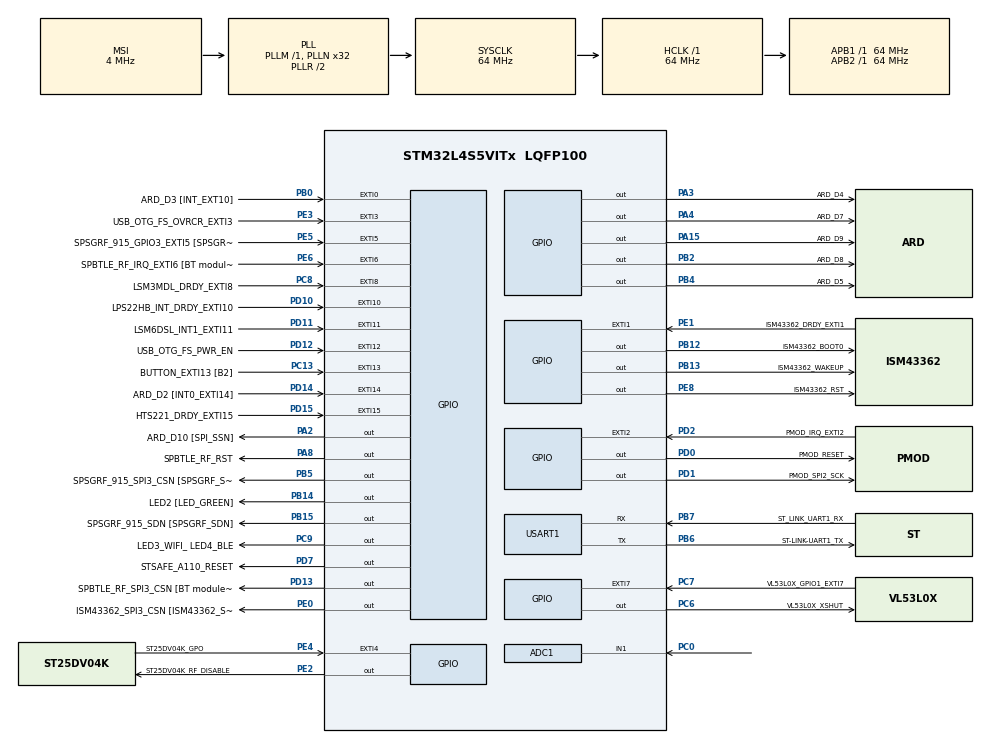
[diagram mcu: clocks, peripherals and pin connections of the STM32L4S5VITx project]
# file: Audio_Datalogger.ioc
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ADC1.ExternalTrigConv=ADC_EXTERNALTRIG_T2_TRGO
ADC1.ExternalTrigConvEdge=ADC_EXTERNALTRIGCONVEDGE_FALLING
ADC1.NbrOfConversionFlag=1
ADC1.Resolution=ADC_RESOLUTION_10B
ADC1.master=1
Mcu.Family=STM32L4
Mcu.Name=STM32L4S5VITx
Mcu.Package=LQFP100
NVIC.ADC1_IRQn=true\:0\:0\:false\:false\:true\:true\:true\:true
NVIC.EXTI15_10_IRQn=true\:0\:0\:false\:false\:true\:true\:true\:true
NVIC.EXTI9_5_IRQn=true\:0\:0\:false\:false\:true\:true\:true\:true
NVIC.PriorityGroup=NVIC_PRIORITYGROUP_4
PA0.GPIO_Label=ARD_D1 [UART4_TX]
PA0.GPIO_ModeDefaultPP=GPIO_MODE_AF_PP
PA0.GPIO_PuPd=GPIO_NOPULL
PA0.GPIO_Speed=GPIO_SPEED_FREQ_VERY_HIGH
PA0.Signal=UART4_TX
PA1.GPIO_Label=ARD_D0 [UART4_RX]
PA1.GPIO_ModeDefaultPP=GPIO_MODE_AF_PP
PA1.GPIO_PuPd=GPIO_NOPULL
PA1.GPIO_Speed=GPIO_SPEED_FREQ_VERY_HIGH
PA1.Signal=UART4_RX
PA13\ (JTMS/SWDIO).GPIO_Label=SYS_JTMS_SWDIO
PA13\ (JTMS/SWDIO).Signal=SYS_JTMS-SWDIO
PA14\ (JTCK/SWCLK).GPIO_Label=SYS_JTCK_SWCLK
PA14\ (JTCK/SWCLK).Signal=SYS_JTCK-SWCLK
PA15\ (JTDI).GPIO_Label=ARD_D9
PA15\ (JTDI).GPIO_ModeDefaultOutputPP=GPIO_MODE_OUTPUT_PP
PA15\ (JTDI).GPIO_PuPd=GPIO_NOPULL
PA15\ (JTDI).GPIO_Speed=GPIO_SPEED_FREQ_LOW
PA15\ (JTDI).PinState=GPIO_PIN_RESET
PA15\ (JTDI).Signal=GPIO_Output
PA2.GPIO_Label=ARD_D10 [SPI_SSN]
PA2.GPIO_ModeDefaultOutputPP=GPIO_MODE_OUTPUT_PP
PA2.GPIO_PuPd=GPIO_NOPULL
PA2.GPIO_Speed=GPIO_SPEED_FREQ_LOW
PA2.PinState=GPIO_PIN_RESET
PA2.Signal=GPIO_Output
PA3.GPIO_Label=ARD_D4
PA3.Signal=GPIO_Output
PA4.GPIO_Label=ARD_D7
PA4.Signal=GPIO_Output
PA5.GPIO_Label=ARD_D13 [SPI1_SCK/LED1]
PA5.GPIO_Mode=GPIO_MODE_AF_PP
PA5.GPIO_PuPd=GPIO_NOPULL
PA5.GPIO_Speed=GPIO_SPEED_FREQ_VERY_HIGH
PA5.Signal=SPI1_SCK
PA6.GPIO_Label=ARD_D12 [SPI1_MISO]
PA6.GPIO_Mode=GPIO_MODE_AF_PP
PA6.GPIO_PuPd=GPIO_NOPULL
PA6.GPIO_Speed=GPIO_SPEED_FREQ_VERY_HIGH
PA6.Signal=SPI1_MISO
PA7.GPIO_Label=ARD_D11 [SPI1_MOSI]
PA7.GPIO_Mode=GPIO_MODE_AF_PP
PA7.GPIO_PuPd=GPIO_NOPULL
PA7.GPIO_Speed=GPIO_SPEED_FREQ_VERY_HIGH
PA7.Signal=SPI1_MOSI
PA8.GPIO_Label=SPBTLE_RF_RST
PA8.GPIO_ModeDefaultOutputPP=GPIO_MODE_OUTPUT_PP
PA8.GPIO_PuPd=GPIO_NOPULL
PA8.GPIO_Speed=GPIO_SPEED_FREQ_LOW
PA8.PinState=GPIO_PIN_RESET
PA8.Signal=GPIO_Output
PA9.GPIO_Label=USB_OTG_FS_VBUS
PA9.GPIO_Mode=GPIO_MODE_INPUT
PA9.GPIO_PuPd=GPIO_NOPULL
PA9.Signal=USB_OTG_FS_VBUS
PB0.GPIO_Label=ARD_D3 [INT_EXT10]
PB0.GPIO_ModeDefaultEXTI=GPIO_MODE_IT_RISING
PB0.GPIO_PuPd=GPIO_NOPULL
PB0.Signal=GPXTI0
PB1.GPIO_Label=ARD_D6
PB1.GPIO_Speed=GPIO_SPEED_FREQ_LOW
PB1.Signal=S_TIM3_CH4
PB10.GPIO_Label=INTERNAL_I2C2_SCL [MEMs]
PB10.GPIO_Mode=GPIO_MODE_AF_OD
PB10.GPIO_PuPdOD=GPIO_PULLUP
PB10.GPIO_Speed=GPIO_SPEED_FREQ_VERY_HIGH
PB10.Signal=I2C2_SCL
PB11.GPIO_Label=INTERNAL_I2C2_SDA [MEMs]
PB11.GPIO_Mode=GPIO_MODE_AF_OD
PB11.GPIO_PuPdOD=GPIO_PULLUP
PB11.GPIO_Speed=GPIO_SPEED_FREQ_VERY_HIGH
PB11.Signal=I2C2_SDA
PB12.GPIO_Label=ISM43362_BOOT0
PB12.GPIO_ModeDefaultOutputPP=GPIO_MODE_OUTPUT_PP
PB12.GPIO_PuPd=GPIO_NOPULL
PB12.GPIO_Speed=GPIO_SPEED_FREQ_LOW
PB12.PinState=GPIO_PIN_RESET
PB12.Signal=GPIO_Output
PB13.GPIO_Label=ISM43362_WAKEUP
PB13.GPIO_ModeDefaultOutputPP=GPIO_MODE_OUTPUT_PP
PB13.GPIO_PuPd=GPIO_NOPULL
PB13.GPIO_Speed=GPIO_SPEED_FREQ_LOW
PB13.PinState=GPIO_PIN_RESET
PB13.Signal=GPIO_Output
PB14.GPIO_Label=LED2 [LED_GREEN]
PB14.GPIO_ModeDefaultOutputPP=GPIO_MODE_OUTPUT_PP
PB14.GPIO_PuPd=GPIO_NOPULL
PB14.GPIO_Speed=GPIO_SPEED_FREQ_LOW
PB14.PinState=GPIO_PIN_RESET
PB14.Signal=GPIO_Output
PB15.GPIO_Label=SPSGRF_915_SDN [SPSGRF_SDN]
PB15.Signal=GPIO_Output
PB2.GPIO_Label=ARD_D8
PB2.GPIO_ModeDefaultOutputPP=GPIO_MODE_OUTPUT_PP
PB2.GPIO_PuPd=GPIO_NOPULL
PB2.GPIO_Speed=GPIO_SPEED_FREQ_LOW
PB2.PinState=GPIO_PIN_RESET
PB2.Signal=GPIO_Output
PB3\ (JTDO/TRACESWO).GPIO_Label=SYS_JTD0_SWO
PB3\ (JTDO/TRACESWO).Signal=SYS_JTDO-SWO
PB4\ (NJTRST).GPIO_Label=ARD_D5
PB4\ (NJTRST).GPIO_ModeDefaultOutputPP=GPIO_MODE_OUTPUT_PP
PB4\ (NJTRST).GPIO_PuPd=GPIO_NOPULL
PB4\ (NJTRST).GPIO_Speed=GPIO_SPEED_FREQ_LOW
PB4\ (NJTRST).PinState=GPIO_PIN_RESET
PB4\ (NJTRST).Signal=GPIO_Output
PB5.GPIO_Label=SPSGRF_915_SPI3_CSN [SPSGRF_SPI_CS]
PB5.Signal=GPIO_Output
PB6.GPIO_FM6=__NULL
PB6.GPIO_Label=ST-LINK-UART1_TX
PB6.GPIO_ModeDefaultPP=GPIO_MODE_AF_PP
PB6.GPIO_PuPd=GPIO_NOPULL
PB6.GPIO_Speed=GPIO_SPEED_FREQ_VERY_HIGH
PB6.Mode=Asynchronous
PB6.Signal=USART1_TX
PB7.GPIO_FM7=__NULL
PB7.GPIO_Label=ST_LINK_UART1_RX
PB7.GPIO_ModeDefaultPP=GPIO_MODE_AF_PP
PB7.GPIO_PuPd=GPIO_NOPULL
PB7.GPIO_Speed=GPIO_SPEED_FREQ_VERY_HIGH
PB7.Mode=Asynchronous
PB7.Signal=USART1_RX
PB8.GPIO_FM8=__NULL
PB8.GPIO_Label=ARD_D15 [I2C1_SCL]
PB8.GPIO_Mode=GPIO_MODE_AF_OD
PB8.GPIO_PuPdOD=GPIO_PULLUP
PB8.GPIO_Speed=GPIO_SPEED_FREQ_VERY_HIGH
PB8.Signal=I2C1_SCL
PB9.GPIO_FM9=__NULL
PB9.GPIO_Label=ARD_D14 [I2C1_SDA]
PB9.GPIO_Mode=GPIO_MODE_AF_OD
PB9.GPIO_PuPdOD=GPIO_PULLUP
PB9.GPIO_Speed=GPIO_SPEED_FREQ_VERY_HIGH
PB9.Signal=I2C1_SDA
PC0.GPIO_Mode=GPIO_MODE_ANALOG_ADC_CONTROL
PC0.GPIO_PuPd=GPIO_NOPULL
PC0.Signal=ADCx_IN1
PC1.GPIO_Label=ARD_A4 [ADC]
PC1.GPIO_Mode=GPIO_MODE_ANALOG_ADC_CONTROL
PC1.GPIO_PuPd=GPIO_NOPULL
PC1.Signal=ADCx_IN2
PC10.GPIO_Label=INTERNAL-SPI3_SCK [BT module_SPI_MOSI] [ISM43362_MOSI]
PC10.GPIO_Mode=GPIO_MODE_AF_PP
PC10.GPIO_PuPd=GPIO_NOPULL
PC10.GPIO_Speed=GPIO_SPEED_FREQ_VERY_HIGH
PC10.Signal=SPI3_SCK
PC11.GPIO_Label=INTERNAL_SPI3_MISO [BT module_SPI_MOSI] [ISM43362_MOSI]
PC11.GPIO_Mode=GPIO_MODE_AF_PP
PC11.GPIO_PuPd=GPIO_NOPULL
PC11.GPIO_Speed=GPIO_SPEED_FREQ_VERY_HIGH
PC11.Signal=SPI3_MISO
PC12.GPIO_Label=INTERNAL_SPI3_MOSI [BT module_SPI_MOSI] [ISM43362_MOSI]
PC12.GPIO_Mode=GPIO_MODE_AF_PP
PC12.GPIO_PuPd=GPIO_NOPULL
PC12.GPIO_Speed=GPIO_SPEED_FREQ_VERY_HIGH
PC12.Signal=SPI3_MOSI
PC13.GPIO_Label=BUTTON_EXTI13 [B2]
PC13.GPIO_ModeDefaultEXTI=GPIO_MODE_IT_RISING
PC13.GPIO_PuPd=GPIO_NOPULL
PC13.Signal=GPXTI13
PC2.GPIO_Label=ARD_A3 [ADC]
PC2.GPIO_Mode=GPIO_MODE_ANALOG_ADC_CONTROL
PC2.GPIO_PuPd=GPIO_NOPULL
PC2.Signal=ADCx_IN3
PC3.GPIO_Label=ARD_A2 [ADC]
PC3.GPIO_Mode=GPIO_MODE_ANALOG_ADC_CONTROL
PC3.GPIO_PuPd=GPIO_NOPULL
PC3.Signal=ADCx_IN4
PC4.GPIO_Label=ARD_A1 [ADC]
PC4.GPIO_Mode=GPIO_MODE_ANALOG_ADC_CONTROL
PC4.GPIO_PuPd=GPIO_NOPULL
PC4.Signal=ADCx_IN13
PC5.GPIO_Label=ARD_A0 [ADC]
PC5.GPIO_Mode=GPIO_MODE_ANALOG_ADC_CONTROL
PC5.GPIO_PuPd=GPIO_NOPULL
PC5.Signal=ADCx_IN14
PC6.GPIO_Label=VL53L0X_XSHUT
PC6.GPIO_ModeDefaultOutputPP=GPIO_MODE_OUTPUT_PP
PC6.GPIO_PuPd=GPIO_NOPULL
PC6.GPIO_Speed=GPIO_SPEED_FREQ_LOW
PC6.PinState=GPIO_PIN_RESET
PC6.Signal=GPIO_Output
PC7.GPIO_Label=VL53L0X_GPIO1_EXTI7
PC7.GPIO_ModeDefaultEXTI=GPIO_MODE_IT_RISING
PC7.GPIO_PuPd=GPIO_NOPULL
PC7.Signal=GPXTI7
PC8.GPIO_Label=LSM3MDL_DRDY_EXTI8
PC8.GPIO_ModeDefaultEXTI=GPIO_MODE_IT_RISING
PC8.GPIO_PuPd=GPIO_NOPULL
PC8.Signal=GPXTI8
PC9.GPIO_Label=LED3_WIFI_ LED4_BLE
PC9.GPIO_ModeDefaultOutputPP=GPIO_MODE_OUTPUT_PP
PC9.GPIO_PuPd=GPIO_NOPULL
PC9.GPIO_Speed=GPIO_SPEED_FREQ_LOW
PC9.PinState=GPIO_PIN_RESET
PC9.Signal=GPIO_Output
PD0.GPIO_Label=PMOD_RESET
PD0.GPIO_ModeDefaultOutputPP=GPIO_MODE_OUTPUT_PP
PD0.GPIO_PuPd=GPIO_NOPULL
PD0.GPIO_Speed=GPIO_SPEED_FREQ_LOW
PD0.PinState=GPIO_PIN_RESET
PD0.Signal=GPIO_Output
PD1.GPIO_Label=PMOD_SPI2_SCK
PD1.Signal=GPIO_Output
PD10.GPIO_Label=LPS22HB_INT_DRDY_EXTI10
PD10.GPIO_ModeDefaultEXTI=GPIO_MODE_IT_RISING
PD10.GPIO_PuPd=GPIO_NOPULL
PD10.Signal=GPXTI10
PD11.GPIO_Label=LSM6DSL_INT1_EXTI11
PD11.GPIO_ModeDefaultEXTI=GPIO_MODE_IT_RISING
PD11.GPIO_PuPd=GPIO_NOPULL
PD11.Signal=GPXTI11
PD12.GPIO_Label=USB_OTG_FS_PWR_EN
PD12.GPIO_ModeDefaultEXTI=GPIO_MODE_IT_RISING
PD12.GPIO_PuPd=GPIO_NOPULL
PD12.Signal=GPXTI12
PD13.GPIO_Label=SPBTLE_RF_SPI3_CSN [BT module_SPI_CS]
PD13.GPIO_ModeDefaultOutputPP=GPIO_MODE_OUTPUT_PP
PD13.GPIO_PuPd=GPIO_NOPULL
PD13.GPIO_Speed=GPIO_SPEED_FREQ_LOW
PD13.PinState=GPIO_PIN_RESET
PD13.Signal=GPIO_Output
PD14.GPIO_Label=ARD_D2 [INT0_EXTI14]
PD14.GPIO_ModeDefaultEXTI=GPIO_MODE_IT_RISING
PD14.GPIO_PuPd=GPIO_NOPULL
PD14.Signal=GPXTI14
PD15.GPIO_Label=HTS221_DRDY_EXTI15
PD15.GPIO_ModeDefaultEXTI=GPIO_MODE_IT_RISING
PD15.GPIO_PuPd=GPIO_NOPULL
PD15.Signal=GPXTI15
PD2.GPIO_Label=PMOD_IRQ_EXTI2
PD2.GPIO_ModeDefaultEXTI=GPIO_MODE_IT_RISING
PD2.GPIO_PuPd=GPIO_NOPULL
PD2.Signal=GPXTI2
PD3.GPIO_Label=PMOD_UART2_CTS
PD3.GPIO_Mode=GPIO_MODE_AF_PP
PD3.GPIO_PuPd=GPIO_NOPULL
PD3.GPIO_Speed=GPIO_SPEED_FREQ_VERY_HIGH
PD3.Signal=USART2_CTS
PD4.GPIO_Label=PMOD_UART2_RTS
PD4.GPIO_Mode=GPIO_MODE_AF_PP
PD4.GPIO_PuPd=GPIO_NOPULL
PD4.GPIO_Speed=GPIO_SPEED_FREQ_VERY_HIGH
PD4.Signal=USART2_RTS
PD5.GPIO_Label=PMOD_UART2_TX
PD5.GPIO_ModeDefaultPP=GPIO_MODE_AF_PP
PD5.GPIO_PuPd=GPIO_NOPULL
PD5.GPIO_Speed=GPIO_SPEED_FREQ_VERY_HIGH
PD5.Signal=USART2_TX
PD6.GPIO_Label=PMOD_UART2_RX
PD6.GPIO_ModeDefaultPP=GPIO_MODE_AF_PP
PD6.GPIO_PuPd=GPIO_NOPULL
PD6.GPIO_Speed=GPIO_SPEED_FREQ_VERY_HIGH
PD6.Signal=USART2_RX
PD7.GPIO_Label=STSAFE_A110_RESET
PD7.GPIO_ModeDefaultOutputPP=GPIO_MODE_OUTPUT_PP
PD7.GPIO_PuPd=GPIO_NOPULL
PD7.GPIO_Speed=GPIO_SPEED_FREQ_LOW
PD7.PinState=GPIO_PIN_RESET
PD7.Signal=GPIO_Output
PD8.GPIO_Label=INTERNAL_UART3_TX [ISM43362_RX]
PD8.GPIO_ModeDefaultPP=GPIO_MODE_AF_PP
PD8.GPIO_PuPd=GPIO_NOPULL
PD8.GPIO_Speed=GPIO_SPEED_FREQ_VERY_HIGH
PD8.Signal=USART3_TX
PD9.GPIO_Label=INTERNAL_UART3_RX [ISM43362_TX]
PD9.GPIO_ModeDefaultPP=GPIO_MODE_AF_PP
PD9.GPIO_PuPd=GPIO_NOPULL
PD9.GPIO_Speed=GPIO_SPEED_FREQ_VERY_HIGH
PD9.Signal=USART3_RX
PE0.GPIO_Label=ISM43362_SPI3_CSN [ISM43362_SSN]
PE0.GPIO_ModeDefaultOutputPP=GPIO_MODE_OUTPUT_PP
PE0.GPIO_PuPd=GPIO_NOPULL
PE0.GPIO_Speed=GPIO_SPEED_FREQ_LOW
PE0.PinState=GPIO_PIN_RESET
PE0.Signal=GPIO_Output
PE1.GPIO_Label=ISM43362_DRDY_EXTI1
PE1.GPIO_ModeDefaultEXTI=GPIO_MODE_IT_RISING
PE1.GPIO_PuPd=GPIO_NOPULL
PE1.Signal=GPXTI1
PE10.GPIO_Label=QUADSPI_CLK [MX25R6435F_SCLK]
PE10.GPIO_Mode=GPIO_MODE_AF_PP
PE10.GPIO_PuPd=GPIO_NOPULL
PE10.GPIO_Speed_High_Default=GPIO_SPEED_FREQ_VERY_HIGH
PE10.Signal=OCTOSPIM_P1_CLK
PE11.GPIO_Label=QUADSPI_NCS [MX25R6435F_SCLK]
PE11.GPIO_Mode=GPIO_MODE_AF_PP
PE11.GPIO_PuPd=GPIO_NOPULL
PE11.GPIO_Speed_High_Default=GPIO_SPEED_FREQ_VERY_HIGH
PE11.Signal=OCTOSPIM_P1_NCS
PE12.GPIO_Label=OQUADSPI_BK1_IO0 [MX25R6435F_IO0]
PE12.GPIO_Mode=GPIO_MODE_AF_PP
PE12.GPIO_PuPd=GPIO_NOPULL
PE12.GPIO_Speed_High_Default=GPIO_SPEED_FREQ_VERY_HIGH
PE12.Signal=OCTOSPIM_P1_IO0
PE13.GPIO_Label=QUADSPI_BK1_IO1 [MX25R6435F_IO1]
PE13.GPIO_Mode=GPIO_MODE_AF_PP
PE13.GPIO_PuPd=GPIO_NOPULL
PE13.GPIO_Speed_High_Default=GPIO_SPEED_FREQ_VERY_HIGH
PE13.Signal=OCTOSPIM_P1_IO1
PE14.GPIO_Label=QUAD_SPI_BK1_IO2 [MX25R6435F_IO2]
PE14.GPIO_Mode=GPIO_MODE_AF_PP
PE14.GPIO_PuPd=GPIO_NOPULL
PE14.GPIO_Speed_High_Default=GPIO_SPEED_FREQ_VERY_HIGH
PE14.Signal=OCTOSPIM_P1_IO2
PE15.GPIO_Label=QUAD_SPI_BK1_IO3 [MX25R6435F_IO3]
PE15.GPIO_Mode=GPIO_MODE_AF_PP
PE15.GPIO_PuPd=GPIO_NOPULL
PE15.GPIO_Speed_High_Default=GPIO_SPEED_FREQ_VERY_HIGH
PE15.Signal=OCTOSPIM_P1_IO3
PE2.GPIO_Label=ST25DV04K_RF_DISABLE
PE2.GPIO_ModeDefaultOutputPP=GPIO_MODE_OUTPUT_PP
PE2.GPIO_PuPd=GPIO_NOPULL
PE2.GPIO_Speed=GPIO_SPEED_FREQ_LOW
PE2.PinState=GPIO_PIN_RESET
PE2.Signal=GPIO_Output
PE3.GPIO_Label=USB_OTG_FS_OVRCR_EXTI3
PE3.GPIO_ModeDefaultEXTI=GPIO_MODE_IT_RISING
PE3.GPIO_PuPd=GPIO_NOPULL
PE3.Signal=GPXTI3
PE4.GPIO_Label=ST25DV04K_GPO
PE4.GPIO_ModeDefaultEXTI=GPIO_MODE_IT_RISING
PE4.GPIO_PuPd=GPIO_NOPULL
PE4.Signal=GPXTI4
PE5.GPIO_Label=SPSGRF_915_GPIO3_EXTI5 [SPSGRF_GPIO_3]
PE5.Signal=GPXTI5
PE6.GPIO_Label=SPBTLE_RF_IRQ_EXTI6 [BT module_SPI_IRQ]
PE6.GPIO_ModeDefaultEXTI=GPIO_MODE_IT_RISING
PE6.GPIO_PuPd=GPIO_NOPULL
PE6.Signal=GPXTI6
PE7.GPIO_Label=DFSDM1_DATIN2 [MP34DT01_DOUT]
PE7.GPIO_Mode=GPIO_MODE_AF_PP
PE7.GPIO_PuPd=GPIO_NOPULL
PE7.GPIO_Speed=GPIO_SPEED_FREQ_LOW
PE7.Signal=S_DATAIN2DFSDM1
PE8.GPIO_Label=ISM43362_RST
PE8.GPIO_ModeDefaultOutputPP=GPIO_MODE_OUTPUT_PP
PE8.GPIO_PuPd=GPIO_NOPULL
PE8.GPIO_Speed=GPIO_SPEED_FREQ_LOW
PE8.PinState=GPIO_PIN_RESET
PE8.Signal=GPIO_Output
PE9.GPIO_Label=DFSDM1_CKOUT [MP34DT01_CLK]
PE9.GPIO_Mode=GPIO_MODE_AF_PP
PE9.GPIO_PuPd=GPIO_NOPULL
PE9.GPIO_Speed=GPIO_SPEED_FREQ_LOW
PE9.Signal=S_CKOUTDFSDM1
ProjectManager.HeapSize=0x200
ProjectManager.StackSize=0x400
ProjectManager.TargetToolchain=STM32CubeIDE
RCC.ADCFreq_Value=32000000
RCC.AHBFreq_Value=64000000
RCC.APB1Freq_Value=64000000
RCC.APB1TimFreq_Value=64000000
RCC.APB2Freq_Value=64000000
RCC.APB2TimFreq_Value=64000000
RCC.CortexFreq_Value=64000000
RCC.HCLKFreq_Value=64000000
RCC.HSE_VALUE=8000000
RCC.HSI48_VALUE=48000000
RCC.HSI_VALUE=16000000
RCC.LSE_VALUE=32768
RCC.MSI_VALUE=4000000
RCC.PLLN=32
RCC.PLLSAI1N=16
RCC.SYSCLKFreq_VALUE=64000000
RCC.SYSCLKSource=RCC_SYSCLKSOURCE_PLLCLK
RCC.USBFreq_Value=32000000
RCC.VCOOutputFreq_Value=128000000
SH.ADCx_IN1.0=ADC1_IN1,IN1-Single-Ended
SH.ADCx_IN13.0=ADC1_IN13
SH.ADCx_IN14.0=ADC1_IN14
SH.ADCx_IN2.0=ADC1_IN2
SH.ADCx_IN3.0=ADC1_IN3
SH.ADCx_IN4.0=ADC1_IN4
SH.S_CKOUTDFSDM1.0=DFSDM1_CKOUT
SH.S_DATAIN2DFSDM1.0=DFSDM1_DATIN2
SH.S_TIM3_CH4.0=TIM3_CH4
TIM2.Period=999
TIM2.Prescaler=1
TIM2.TIM_MasterOutputTrigger=TIM_TRGO_UPDATE
USART1.VirtualMode-Asynchronous=VM_ASYNC
VP_TIM2_VS_ClockSourceINT.Mode=Internal
board=B-L4S5I-IOT01A

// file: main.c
/* USER CODE BEGIN Header */
/**
  ******************************************************************************
  * @file           : main.c
  * @brief          : Main program body
  ******************************************************************************
  */
/* USER CODE END Header */
#include "main.h"

/* USER CODE BEGIN Includes */
#include "stdio.h"
#include "string.h"
/* USER CODE END Includes */

/* USER CODE BEGIN PD */

#define DATA_INPUT_USER 256
#define AXIS_NUMBER 1

/* USER CODE END PD */

ADC_HandleTypeDef hadc1;

TIM_HandleTypeDef htim2;

UART_HandleTypeDef huart1;

/* USER CODE BEGIN PV */

float mic_x = 0.0;
float mic_buffer[DATA_INPUT_USER] = {0};

volatile uint32_t buffer_index = 0;

/* USER CODE END PV */

void SystemClock_Config(void);
static void MX_GPIO_Init(void);
static void MX_ADC1_Init(void);
static void MX_TIM2_Init(void);
static void MX_USART1_UART_Init(void);
/* USER CODE BEGIN PFP */

void Log(void);
int __io_putchar(int ch);

/* USER CODE END PFP */

/* USER CODE BEGIN 0 */

void HAL_ADC_ConvCpltCallback(ADC_HandleTypeDef *hadc)
{
    if(hadc->Instance == ADC1)
    {
        mic_x = (float)HAL_ADC_GetValue(hadc);

        mic_buffer[buffer_index] = mic_x;

        buffer_index++;

        if(buffer_index >= DATA_INPUT_USER)
        {
            buffer_index = 0;
        }
    }
}

/* USER CODE END 0 */

int main(void)
{

  /* MCU Configuration--------------------------------------------------------*/

  /* Reset of all peripherals, Initializes the Flash interface and the Systick. */
  HAL_Init();

  /* Configure the system clock */
  SystemClock_Config();

  /* Initialize all configured peripherals */
  MX_GPIO_Init();
  MX_ADC1_Init();
  MX_TIM2_Init();
  MX_USART1_UART_Init();

  /* Infinite loop */
  while (1)
  {

  }
}

void SystemClock_Config(void)
{
  RCC_OscInitTypeDef RCC_OscInitStruct = {0};
  RCC_ClkInitTypeDef RCC_ClkInitStruct = {0};

  /** Configure the main internal regulator output voltage
  */
  if (HAL_PWREx_ControlVoltageScaling(PWR_REGULATOR_VOLTAGE_SCALE1) != HAL_OK)
  {
    Error_Handler();
  }

  /** Initializes the RCC Oscillators according to the specified parameters
  * in the RCC_OscInitTypeDef structure.
  */
  RCC_OscInitStruct.OscillatorType = RCC_OSCILLATORTYPE_MSI;
  RCC_OscInitStruct.MSIState = RCC_MSI_ON;
  RCC_OscInitStruct.MSICalibrationValue = 0;
  RCC_OscInitStruct.MSIClockRange = RCC_MSIRANGE_6;
  RCC_OscInitStruct.PLL.PLLState = RCC_PLL_ON;
  RCC_OscInitStruct.PLL.PLLSource = RCC_PLLSOURCE_MSI;
  RCC_OscInitStruct.PLL.PLLM = 1;
  RCC_OscInitStruct.PLL.PLLN = 32;
  RCC_OscInitStruct.PLL.PLLP = RCC_PLLP_DIV2;
  RCC_OscInitStruct.PLL.PLLQ = RCC_PLLQ_DIV2;
  RCC_OscInitStruct.PLL.PLLR = RCC_PLLR_DIV2;
  if (HAL_RCC_OscConfig(&RCC_OscInitStruct) != HAL_OK)
  {
    Error_Handler();
  }

  /** Initializes the CPU, AHB and APB buses clocks
  */
  RCC_ClkInitStruct.ClockType = RCC_CLOCKTYPE_HCLK|RCC_CLOCKTYPE_SYSCLK
                              |RCC_CLOCKTYPE_PCLK1|RCC_CLOCKTYPE_PCLK2;
  RCC_ClkInitStruct.SYSCLKSource = RCC_SYSCLKSOURCE_PLLCLK;
  RCC_ClkInitStruct.AHBCLKDivider = RCC_SYSCLK_DIV1;
  RCC_ClkInitStruct.APB1CLKDivider = RCC_HCLK_DIV1;
  RCC_ClkInitStruct.APB2CLKDivider = RCC_HCLK_DIV1;

  if (HAL_RCC_ClockConfig(&RCC_ClkInitStruct, FLASH_LATENCY_3) != HAL_OK)
  {
    Error_Handler();
  }
}

static void MX_ADC1_Init(void)
{

  /** Common config
  */
  hadc1.Instance = ADC1;
  hadc1.Init.ClockPrescaler = ADC_CLOCK_ASYNC_DIV1;
  hadc1.Init.Resolution = ADC_RESOLUTION_10B;
  hadc1.Init.DataAlign = ADC_DATAALIGN_RIGHT;
  hadc1.Init.ScanConvMode = ADC_SCAN_DISABLE;
  hadc1.Init.EOCSelection = ADC_EOC_SINGLE_CONV;
  hadc1.Init.LowPowerAutoWait = DISABLE;
  hadc1.Init.ContinuousConvMode = DISABLE;
  hadc1.Init.NbrOfConversion = 1;
  hadc1.Init.DiscontinuousConvMode = DISABLE;
  hadc1.Init.ExternalTrigConv = ADC_EXTERNALTRIG_T2_TRGO;
  hadc1.Init.ExternalTrigConvEdge = ADC_EXTERNALTRIGCONVEDGE_FALLING;
  hadc1.Init.DMAContinuousRequests = DISABLE;
  hadc1.Init.Overrun = ADC_OVR_DATA_PRESERVED;
  hadc1.Init.OversamplingMode = DISABLE;
  if (HAL_ADC_Init(&hadc1) != HAL_OK)
  {
    Error_Handler();
  }

}

static void MX_TIM2_Init(void)
{

  TIM_ClockConfigTypeDef sClockSourceConfig = {0};
  TIM_MasterConfigTypeDef sMasterConfig = {0};

  htim2.Instance = TIM2;
  htim2.Init.Prescaler = 1;
  htim2.Init.CounterMode = TIM_COUNTERMODE_UP;
  htim2.Init.Period = 999;
  htim2.Init.ClockDivision = TIM_CLOCKDIVISION_DIV1;
  htim2.Init.AutoReloadPreload = TIM_AUTORELOAD_PRELOAD_DISABLE;
  if (HAL_TIM_Base_Init(&htim2) != HAL_OK)
  {
    Error_Handler();
  }
  sClockSourceConfig.ClockSource = TIM_CLOCKSOURCE_INTERNAL;
  if (HAL_TIM_ConfigClockSource(&htim2, &sClockSourceConfig) != HAL_OK)
  {
    Error_Handler();
  }
  sMasterConfig.MasterOutputTrigger = TIM_TRGO_UPDATE;
  sMasterConfig.MasterSlaveMode = TIM_MASTERSLAVEMODE_DISABLE;
  if (HAL_TIMEx_MasterConfigSynchronization(&htim2, &sMasterConfig) != HAL_OK)
  {
    Error_Handler();
  }

}

static void MX_USART1_UART_Init(void)
{

  huart1.Instance = USART1;
  huart1.Init.BaudRate = 115200;
  huart1.Init.WordLength = UART_WORDLENGTH_8B;
  huart1.Init.StopBits = UART_STOPBITS_1;
  huart1.Init.Parity = UART_PARITY_NONE;
  huart1.Init.Mode = UART_MODE_TX_RX;
  huart1.Init.HwFlowCtl = UART_HWCONTROL_NONE;
  huart1.Init.OverSampling = UART_OVERSAMPLING_16;
  huart1.Init.OneBitSampling = UART_ONE_BIT_SAMPLE_DISABLE;
  huart1.Init.ClockPrescaler = UART_PRESCALER_DIV1;
  huart1.AdvancedInit.AdvFeatureInit = UART_ADVFEATURE_NO_INIT;
  if (HAL_UART_Init(&huart1) != HAL_OK)
  {
    Error_Handler();
  }
  if (HAL_UARTEx_SetTxFifoThreshold(&huart1, UART_TXFIFO_THRESHOLD_1_8) != HAL_OK)
  {
    Error_Handler();
  }
  if (HAL_UARTEx_SetRxFifoThreshold(&huart1, UART_RXFIFO_THRESHOLD_1_8) != HAL_OK)
  {
    Error_Handler();
  }
  if (HAL_UARTEx_DisableFifoMode(&huart1) != HAL_OK)
  {
    Error_Handler();
  }

}

static void MX_GPIO_Init(void)
{
  GPIO_InitTypeDef GPIO_InitStruct = {0};

  /* GPIO Ports Clock Enable */
  __HAL_RCC_GPIOE_CLK_ENABLE();
  __HAL_RCC_GPIOC_CLK_ENABLE();
  __HAL_RCC_GPIOA_CLK_ENABLE();
  __HAL_RCC_GPIOB_CLK_ENABLE();
  __HAL_RCC_GPIOD_CLK_ENABLE();

  /*Configure GPIO pin Output Level */
  HAL_GPIO_WritePin(GPIOE, ST25DV04K_RF_DISABLE_Pin|ISM43362_RST_Pin|ISM43362_SPI3_CSN_Pin, GPIO_PIN_RESET);

  /*Configure GPIO pin Output Level */
  HAL_GPIO_WritePin(GPIOA, ARD_D10_Pin|ARD_D4_Pin|ARD_D7_Pin|SPBTLE_RF_RST_Pin
                          |ARD_D9_Pin, GPIO_PIN_RESET);

  /*Configure GPIO pin Output Level */
  HAL_GPIO_WritePin(GPIOB, ARD_D8_Pin|ISM43362_BOOT0_Pin|ISM43362_WAKEUP_Pin|LED2_Pin
                          |SPSGRF_915_SDN_Pin|ARD_D5_Pin|SPSGRF_915_SPI3_CSN_Pin, GPIO_PIN_RESET);

  /*Configure GPIO pin Output Level */
  HAL_GPIO_WritePin(GPIOD, SPBTLE_RF_SPI3_CSN_Pin|PMOD_RESET_Pin|PMOD_SPI2_SCK_Pin|STSAFE_A110_RESET_Pin, GPIO_PIN_RESET);

  /*Configure GPIO pin Output Level */
  HAL_GPIO_WritePin(GPIOC, VL53L0X_XSHUT_Pin|LED3_WIFI__LED4_BLE_Pin, GPIO_PIN_RESET);

  /*Configure GPIO pins : ST25DV04K_RF_DISABLE_Pin ISM43362_RST_Pin ISM43362_SPI3_CSN_Pin */
  GPIO_InitStruct.Pin = ST25DV04K_RF_DISABLE_Pin|ISM43362_RST_Pin|ISM43362_SPI3_CSN_Pin;
  GPIO_InitStruct.Mode = GPIO_MODE_OUTPUT_PP;
  GPIO_InitStruct.Pull = GPIO_NOPULL;
  GPIO_InitStruct.Speed = GPIO_SPEED_FREQ_LOW;
  HAL_GPIO_Init(GPIOE, &GPIO_InitStruct);

  /*Configure GPIO pins : USB_OTG_FS_OVRCR_EXTI3_Pin ST25DV04K_GPO_Pin SPSGRF_915_GPIO3_EXTI5_Pin SPBTLE_RF_IRQ_EXTI6_Pin
                           ISM43362_DRDY_EXTI1_Pin */
  GPIO_InitStruct.Pin = USB_OTG_FS_OVRCR_EXTI3_Pin|ST25DV04K_GPO_Pin|SPSGRF_915_GPIO3_EXTI5_Pin|SPBTLE_RF_IRQ_EXTI6_Pin
                          |ISM43362_DRDY_EXTI1_Pin;
  GPIO_InitStruct.Mode = GPIO_MODE_IT_RISING;
  GPIO_InitStruct.Pull = GPIO_NOPULL;
  HAL_GPIO_Init(GPIOE, &GPIO_InitStruct);

  /*Configure GPIO pins : BUTTON_EXTI13_Pin VL53L0X_GPIO1_EXTI7_Pin LSM3MDL_DRDY_EXTI8_Pin */
  GPIO_InitStruct.Pin = BUTTON_EXTI13_Pin|VL53L0X_GPIO1_EXTI7_Pin|LSM3MDL_DRDY_EXTI8_Pin;
  GPIO_InitStruct.Mode = GPIO_MODE_IT_RISING;
  GPIO_InitStruct.Pull = GPIO_NOPULL;
  HAL_GPIO_Init(GPIOC, &GPIO_InitStruct);

  /*Configure GPIO pins : ARD_D1_Pin ARD_D0_Pin */
  GPIO_InitStruct.Pin = ARD_D1_Pin|ARD_D0_Pin;
  GPIO_InitStruct.Mode = GPIO_MODE_AF_PP;
  GPIO_InitStruct.Pull = GPIO_NOPULL;
  GPIO_InitStruct.Speed = GPIO_SPEED_FREQ_VERY_HIGH;
  GPIO_InitStruct.Alternate = GPIO_AF8_UART4;
  HAL_GPIO_Init(GPIOA, &GPIO_InitStruct);

  /*Configure GPIO pins : ARD_D10_Pin ARD_D4_Pin ARD_D7_Pin SPBTLE_RF_RST_Pin
                           ARD_D9_Pin */
  GPIO_InitStruct.Pin = ARD_D10_Pin|ARD_D4_Pin|ARD_D7_Pin|SPBTLE_RF_RST_Pin
                          |ARD_D9_Pin;
  GPIO_InitStruct.Mode = GPIO_MODE_OUTPUT_PP;
  GPIO_InitStruct.Pull = GPIO_NOPULL;
  GPIO_InitStruct.Speed = GPIO_SPEED_FREQ_LOW;
  HAL_GPIO_Init(GPIOA, &GPIO_InitStruct);

  /*Configure GPIO pins : ARD_D13_Pin ARD_D12_Pin ARD_D11_Pin */
  GPIO_InitStruct.Pin = ARD_D13_Pin|ARD_D12_Pin|ARD_D11_Pin;
  GPIO_InitStruct.Mode = GPIO_MODE_AF_PP;
  GPIO_InitStruct.Pull = GPIO_NOPULL;
  GPIO_InitStruct.Speed = GPIO_SPEED_FREQ_VERY_HIGH;
  GPIO_InitStruct.Alternate = GPIO_AF5_SPI1;
  HAL_GPIO_Init(GPIOA, &GPIO_InitStruct);

  /*Configure GPIO pin : ARD_D3_Pin */
  GPIO_InitStruct.Pin = ARD_D3_Pin;
  GPIO_InitStruct.Mode = GPIO_MODE_IT_RISING;
  GPIO_InitStruct.Pull = GPIO_NOPULL;
  HAL_GPIO_Init(ARD_D3_GPIO_Port, &GPIO_InitStruct);

  /*Configure GPIO pin : ARD_D6_Pin */
  GPIO_InitStruct.Pin = ARD_D6_Pin;
  GPIO_InitStruct.Mode = GPIO_MODE_AF_PP;
  GPIO_InitStruct.Pull = GPIO_NOPULL;
  GPIO_InitStruct.Speed = GPIO_SPEED_FREQ_LOW;
  GPIO_InitStruct.Alternate = GPIO_AF2_TIM3;
  HAL_GPIO_Init(ARD_D6_GPIO_Port, &GPIO_InitStruct);

  /*Configure GPIO pins : ARD_D8_Pin ISM43362_BOOT0_Pin ISM43362_WAKEUP_Pin LED2_Pin
                           SPSGRF_915_SDN_Pin ARD_D5_Pin SPSGRF_915_SPI3_CSN_Pin */
  GPIO_InitStruct.Pin = ARD_D8_Pin|ISM43362_BOOT0_Pin|ISM43362_WAKEUP_Pin|LED2_Pin
                          |SPSGRF_915_SDN_Pin|ARD_D5_Pin|SPSGRF_915_SPI3_CSN_Pin;
  GPIO_InitStruct.Mode = GPIO_MODE_OUTPUT_PP;
  GPIO_InitStruct.Pull = GPIO_NOPULL;
  GPIO_InitStruct.Speed = GPIO_SPEED_FREQ_LOW;
  HAL_GPIO_Init(GPIOB, &GPIO_InitStruct);

  /*Configure GPIO pins : DFSDM1_DATIN2_Pin DFSDM1_CKOUT_Pin */
  GPIO_InitStruct.Pin = DFSDM1_DATIN2_Pin|DFSDM1_CKOUT_Pin;
  GPIO_InitStruct.Mode = GPIO_MODE_AF_PP;
  GPIO_InitStruct.Pull = GPIO_NOPULL;
  GPIO_InitStruct.Speed = GPIO_SPEED_FREQ_LOW;
  GPIO_InitStruct.Alternate = GPIO_AF6_DFSDM1;
  HAL_GPIO_Init(GPIOE, &GPIO_InitStruct);

  /*Configure GPIO pins : QUADSPI_CLK_Pin QUADSPI_NCS_Pin OQUADSPI_BK1_IO0_Pin QUADSPI_BK1_IO1_Pin
                           QUAD_SPI_BK1_IO2_Pin QUAD_SPI_BK1_IO3_Pin */
  GPIO_InitStruct.Pin = QUADSPI_CLK_Pin|QUADSPI_NCS_Pin|OQUADSPI_BK1_IO0_Pin|QUADSPI_BK1_IO1_Pin
                          |QUAD_SPI_BK1_IO2_Pin|QUAD_SPI_BK1_IO3_Pin;
  GPIO_InitStruct.Mode = GPIO_MODE_AF_PP;
  GPIO_InitStruct.Pull = GPIO_NOPULL;
  GPIO_InitStruct.Speed = GPIO_SPEED_FREQ_VERY_HIGH;
  GPIO_InitStruct.Alternate = GPIO_AF10_OCTOSPIM_P1;
  HAL_GPIO_Init(GPIOE, &GPIO_InitStruct);

  /*Configure GPIO pins : INTERNAL_I2C2_SCL_Pin INTERNAL_I2C2_SDA_Pin */
  GPIO_InitStruct.Pin = INTERNAL_I2C2_SCL_Pin|INTERNAL_I2C2_SDA_Pin;
  GPIO_InitStruct.Mode = GPIO_MODE_AF_OD;
  GPIO_InitStruct.Pull = GPIO_NOPULL;
  GPIO_InitStruct.Speed = GPIO_SPEED_FREQ_VERY_HIGH;
  GPIO_InitStruct.Alternate = GPIO_AF4_I2C2;
  HAL_GPIO_Init(GPIOB, &GPIO_InitStruct);

  /*Configure GPIO pins : INTERNAL_UART3_TX_Pin INTERNAL_UART3_RX_Pin */
  GPIO_InitStruct.Pin = INTERNAL_UART3_TX_Pin|INTERNAL_UART3_RX_Pin;
  GPIO_InitStruct.Mode = GPIO_MODE_AF_PP;
  GPIO_InitStruct.Pull = GPIO_NOPULL;
  GPIO_InitStruct.Speed = GPIO_SPEED_FREQ_VERY_HIGH;
  GPIO_InitStruct.Alternate = GPIO_AF7_USART3;
  HAL_GPIO_Init(GPIOD, &GPIO_InitStruct);

  /*Configure GPIO pins : LPS22HB_INT_DRDY_EXTI10_Pin LSM6DSL_INT1_EXTI11_Pin USB_OTG_FS_PWR_EN_Pin ARD_D2_Pin
                           HTS221_DRDY_EXTI15_Pin PMOD_IRQ_EXTI2_Pin */
  GPIO_InitStruct.Pin = LPS22HB_INT_DRDY_EXTI10_Pin|LSM6DSL_INT1_EXTI11_Pin|USB_OTG_FS_PWR_EN_Pin|ARD_D2_Pin
                          |HTS221_DRDY_EXTI15_Pin|PMOD_IRQ_EXTI2_Pin;
  GPIO_InitStruct.Mode = GPIO_MODE_IT_RISING;
  GPIO_InitStruct.Pull = GPIO_NOPULL;
  HAL_GPIO_Init(GPIOD, &GPIO_InitStruct);

  /*Configure GPIO pins : SPBTLE_RF_SPI3_CSN_Pin PMOD_RESET_Pin PMOD_SPI2_SCK_Pin STSAFE_A110_RESET_Pin */
  GPIO_InitStruct.Pin = SPBTLE_RF_SPI3_CSN_Pin|PMOD_RESET_Pin|PMOD_SPI2_SCK_Pin|STSAFE_A110_RESET_Pin;
  GPIO_InitStruct.Mode = GPIO_MODE_OUTPUT_PP;
  GPIO_InitStruct.Pull = GPIO_NOPULL;
  GPIO_InitStruct.Speed = GPIO_SPEED_FREQ_LOW;
  HAL_GPIO_Init(GPIOD, &GPIO_InitStruct);

  /*Configure GPIO pins : VL53L0X_XSHUT_Pin LED3_WIFI__LED4_BLE_Pin */
  GPIO_InitStruct.Pin = VL53L0X_XSHUT_Pin|LED3_WIFI__LED4_BLE_Pin;
  GPIO_InitStruct.Mode = GPIO_MODE_OUTPUT_PP;
  GPIO_InitStruct.Pull = GPIO_NOPULL;
  GPIO_InitStruct.Speed = GPIO_SPEED_FREQ_LOW;
  HAL_GPIO_Init(GPIOC, &GPIO_InitStruct);

  /*Configure GPIO pin : USB_OTG_FS_VBUS_Pin */
  GPIO_InitStruct.Pin = USB_OTG_FS_VBUS_Pin;
  GPIO_InitStruct.Mode = GPIO_MODE_INPUT;
  GPIO_InitStruct.Pull = GPIO_NOPULL;
  HAL_GPIO_Init(USB_OTG_FS_VBUS_GPIO_Port, &GPIO_InitStruct);

  /*Configure GPIO pins : INTERNAL_SPI3_SCK_Pin INTERNAL_SPI3_MISO_Pin INTERNAL_SPI3_MOSI_Pin */
  GPIO_InitStruct.Pin = INTERNAL_SPI3_SCK_Pin|INTERNAL_SPI3_MISO_Pin|INTERNAL_SPI3_MOSI_Pin;
  GPIO_InitStruct.Mode = GPIO_MODE_AF_PP;
  GPIO_InitStruct.Pull = GPIO_NOPULL;
  GPIO_InitStruct.Speed = GPIO_SPEED_FREQ_VERY_HIGH;
  GPIO_InitStruct.Alternate = GPIO_AF6_SPI3;
  HAL_GPIO_Init(GPIOC, &GPIO_InitStruct);

  /*Configure GPIO pins : PMOD_UART2_CTS_Pin PMOD_UART2_RTS_Pin PMOD_UART2_TX_Pin PMOD_UART2_RX_Pin */
  GPIO_InitStruct.Pin = PMOD_UART2_CTS_Pin|PMOD_UART2_RTS_Pin|PMOD_UART2_TX_Pin|PMOD_UART2_RX_Pin;
  GPIO_InitStruct.Mode = GPIO_MODE_AF_PP;
  GPIO_InitStruct.Pull = GPIO_NOPULL;
  GPIO_InitStruct.Speed = GPIO_SPEED_FREQ_VERY_HIGH;
  GPIO_InitStruct.Alternate = GPIO_AF7_USART2;
  HAL_GPIO_Init(GPIOD, &GPIO_InitStruct);

  /*Configure GPIO pins : ARD_D15_Pin ARD_D14_Pin */
  GPIO_InitStruct.Pin = ARD_D15_Pin|ARD_D14_Pin;
  GPIO_InitStruct.Mode = GPIO_MODE_AF_OD;
  GPIO_InitStruct.Pull = GPIO_NOPULL;
  GPIO_InitStruct.Speed = GPIO_SPEED_FREQ_VERY_HIGH;
  GPIO_InitStruct.Alternate = GPIO_AF4_I2C1;
  HAL_GPIO_Init(GPIOB, &GPIO_InitStruct);

  /* EXTI interrupt init*/
  HAL_NVIC_SetPriority(EXTI9_5_IRQn, 0, 0);
  HAL_NVIC_EnableIRQ(EXTI9_5_IRQn);

  HAL_NVIC_SetPriority(EXTI15_10_IRQn, 0, 0);
  HAL_NVIC_EnableIRQ(EXTI15_10_IRQn);

}

/* USER CODE BEGIN 4 */

int __io_putchar(int ch)
{
    HAL_UART_Transmit(&huart1, (uint8_t *)&ch, 1, HAL_MAX_DELAY);
    return ch;
}

void Log(void)
{
    for(int i = 0; i < DATA_INPUT_USER; i++)
    {
        printf("%.2f ", mic_buffer[i]);
    }

    printf("\r\n");

    HAL_Delay(500);
}

/* USER CODE END 4 */

void Error_Handler(void)
{
  __disable_irq();
  while (1)
  {
  }
}
